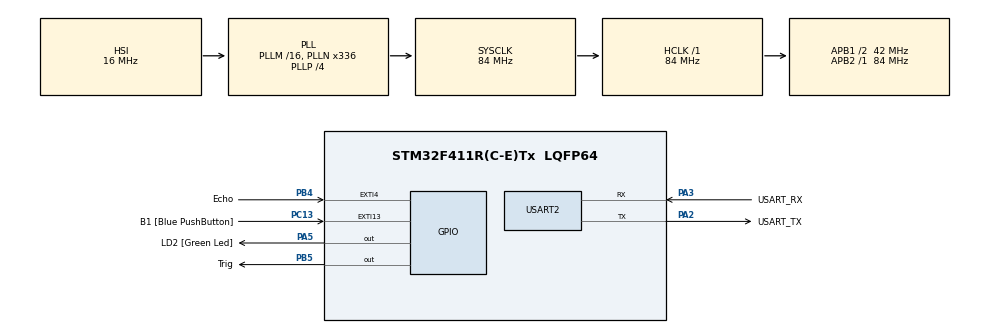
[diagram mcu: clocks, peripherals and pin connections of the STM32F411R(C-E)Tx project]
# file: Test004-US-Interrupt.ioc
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Mcu.Family=STM32F4
Mcu.Name=STM32F411R(C-E)Tx
Mcu.Package=LQFP64
NVIC.EXTI4_IRQn=true\:0\:0\:false\:false\:true\:true\:true\:true
NVIC.PriorityGroup=NVIC_PRIORITYGROUP_0
NVIC.TIM3_IRQn=true\:0\:0\:false\:false\:true\:true\:true\:true
PA13.GPIO_Label=TMS
PA13.Mode=Serial_Wire
PA13.Signal=SYS_JTMS-SWDIO
PA14.GPIO_Label=TCK
PA14.Mode=Serial_Wire
PA14.Signal=SYS_JTCK-SWCLK
PA2.GPIO_Label=USART_TX
PA2.Mode=Asynchronous
PA2.Signal=USART2_TX
PA3.GPIO_Label=USART_RX
PA3.Mode=Asynchronous
PA3.Signal=USART2_RX
PA5.GPIO_Label=LD2 [Green Led]
PA5.Signal=GPIO_Output
PB3.GPIO_Label=SWO
PB3.Signal=SYS_JTDO-SWO
PB4.GPIO_Label=Echo
PB4.GPIO_ModeDefaultEXTI=GPIO_MODE_IT_RISING_FALLING
PB4.Signal=GPXTI4
PB5.GPIO_Label=Trig
PB5.Signal=GPIO_Output
PC13-ANTI_TAMP.GPIO_Label=B1 [Blue PushButton]
PC13-ANTI_TAMP.GPIO_ModeDefaultEXTI=GPIO_MODE_IT_FALLING
PC13-ANTI_TAMP.Signal=GPXTI13
PC14-OSC32_IN.Mode=LSE-External-Oscillator
PC14-OSC32_IN.Signal=RCC_OSC32_IN
PC15-OSC32_OUT.Mode=LSE-External-Oscillator
PC15-OSC32_OUT.Signal=RCC_OSC32_OUT
PH0\ -\ OSC_IN.Mode=HSE-External-Clock-Source
PH0\ -\ OSC_IN.Signal=RCC_OSC_IN
PH1\ -\ OSC_OUT.Mode=HSE-External-Clock-Source
PH1\ -\ OSC_OUT.Signal=RCC_OSC_OUT
ProjectManager.HeapSize=0x200
ProjectManager.StackSize=0x400
ProjectManager.TargetToolchain=STM32CubeIDE
RCC.48MHZClocksFreq_Value=84000000
RCC.AHBFreq_Value=84000000
RCC.APB1CLKDivider=RCC_HCLK_DIV2
RCC.APB1Freq_Value=42000000
RCC.APB1TimFreq_Value=84000000
RCC.APB2Freq_Value=84000000
RCC.APB2TimFreq_Value=84000000
RCC.CortexFreq_Value=84000000
RCC.FLatency-AdvancedSettings=FLASH_LATENCY_2
RCC.HCLKFreq_Value=84000000
RCC.HSE_VALUE=8000000
RCC.HSI_VALUE=16000000
RCC.PLLN=336
RCC.PLLP=RCC_PLLP_DIV4
RCC.SYSCLKFreq_VALUE=84000000
RCC.SYSCLKSource=RCC_SYSCLKSOURCE_PLLCLK
RCC.VCOOutputFreq_Value=336000000
TIM3.Period=10000-1
TIM3.Prescaler=560-1
TIM5.Prescaler=84-1
USART2.VirtualMode=VM_ASYNC
VP_TIM3_VS_ClockSourceINT.Mode=Internal
VP_TIM5_VS_ClockSourceINT.Mode=Internal
board=NUCLEO-F411RE

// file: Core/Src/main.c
/* USER CODE BEGIN Header */
/**
  ******************************************************************************
  * @file           : main.c
  * @brief          : Main program body
  ******************************************************************************
  * @attention
  *
  * Copyright (c) 2024 STMicroelectronics.
  * All rights reserved.
  *
  * This software is licensed under terms that can be found in the LICENSE file
  * in the root directory of this software component.
  * If no LICENSE file comes with this software, it is provided AS-IS.
  *
  ******************************************************************************
  */
/* USER CODE END Header */
#include "main.h"

TIM_HandleTypeDef htim3;
TIM_HandleTypeDef htim5;

UART_HandleTypeDef huart2;

void SystemClock_Config(void);
static void MX_GPIO_Init(void);
static void MX_USART2_UART_Init(void);
static void MX_TIM3_Init(void);
static void MX_TIM5_Init(void);

/* USER CODE BEGIN 0 */
void microDelay(int us)
{
	/*
	while(1)
	{
		int tmp_us = htim5.Instance->CNT - t1; // 경과 ?���??????
		if(tmp_us > us) break;
	}
	*/

	htim5.Instance->CNT = 0;
	while((htim5.Instance->CNT < us));

}

void trigger()
{
	//Trigger Signal
	HAL_GPIO_WritePin(Trig_GPIO_Port, Trig_Pin, 1);
    microDelay(10);	// 10us Trigger signal
    HAL_GPIO_WritePin(Trig_GPIO_Port, Trig_Pin, 0);
    microDelay(10);
}

double getdist()
{
	trigger();
	while(HAL_GPIO_ReadPin(Echo_GPIO_Port, Echo_Pin) != 1);
	int t1 = htim5.Instance->CNT;
	//Wait until Echo Falling_Edge
	while(HAL_GPIO_ReadPin(Echo_GPIO_Port, Echo_Pin) != 0);
	int t2 = htim5.Instance->CNT;
	double dist = (t2 - t1) * (0.000170);
	dist *= 100; // meter --> cm

	return dist;
}

int ts = 0;
double dist = 0.0;

void HAL_GPIO_EXTI_Callback(uint16_t GPIO_Pin)
{
	if (GPIO_Pin == Echo_Pin)
	{
		int tt = htim5.Instance->CNT;  //micro count

		if(HAL_GPIO_ReadPin(Echo_GPIO_Port, Echo_Pin) == 1)  //rising edge
			ts = tt;
		else
			dist = (tt - ts) * (0.000170)*100;  //meter
	}
}
void HAL_TIM_PeriodElapsedCallback(TIM_HandleTypeDef *htim)
{
	if(htim==&htim3)
	{
		trigger();
	}
}

/* USER CODE END 0 */

int main(void)
{

  /* MCU Configuration--------------------------------------------------------*/

  /* Reset of all peripherals, Initializes the Flash interface and the Systick. */
  HAL_Init();

  /* Configure the system clock */
  SystemClock_Config();

  /* Initialize all configured peripherals */
  MX_GPIO_Init();
  MX_USART2_UART_Init();
  MX_TIM3_Init();
  MX_TIM5_Init();
  /* USER CODE BEGIN 2 */

  ProgramStart("Ultra Sonic using Interrupt");
  HAL_TIM_Base_Start(&htim5);
  HAL_TIM_Base_Start_IT(&htim3);
  //HAL_TIM_PWM_Start(&htim3, TIM_CHANNEL_2);
  //htim3.Instance->CCR2=3;
  /* USER CODE END 2 */

  /* Infinite loop */
  while (1)
  {

    /* USER CODE BEGIN 3 */
	  /*
	  while(1)
	  {
		  int e1 = HAL_GPIO_ReadPin(Echo_Port, Echo_Pin);
		  if(e1 == 1) break;
	  }
	  */
	  //Wait until Echo Rising_Edge

	  double d = dist;
	  //printf("\033[10;30HDistance : %.2f cm   \r\n", d);
	  printf("\033[?25l");  //cursor off
	  //printf("\033[?25h");  //cursor on
	  printf("\033[10;25f\033#3Distance : %.2f cm   ", d);
	  printf("\033[11;25f\033#4Distance : %.2f cm   \033[9;10H\n", d);
	  //microDelay(100000); //10ms
	  HAL_Delay(100);

  }

  /* USER CODE END 3 */
}

void SystemClock_Config(void)
{
  RCC_OscInitTypeDef RCC_OscInitStruct = {0};
  RCC_ClkInitTypeDef RCC_ClkInitStruct = {0};

  /** Configure the main internal regulator output voltage
  */
  __HAL_RCC_PWR_CLK_ENABLE();
  __HAL_PWR_VOLTAGESCALING_CONFIG(PWR_REGULATOR_VOLTAGE_SCALE1);

  /** Initializes the RCC Oscillators according to the specified parameters
  * in the RCC_OscInitTypeDef structure.
  */
  RCC_OscInitStruct.OscillatorType = RCC_OSCILLATORTYPE_HSI;
  RCC_OscInitStruct.HSIState = RCC_HSI_ON;
  RCC_OscInitStruct.HSICalibrationValue = RCC_HSICALIBRATION_DEFAULT;
  RCC_OscInitStruct.PLL.PLLState = RCC_PLL_ON;
  RCC_OscInitStruct.PLL.PLLSource = RCC_PLLSOURCE_HSI;
  RCC_OscInitStruct.PLL.PLLM = 16;
  RCC_OscInitStruct.PLL.PLLN = 336;
  RCC_OscInitStruct.PLL.PLLP = RCC_PLLP_DIV4;
  RCC_OscInitStruct.PLL.PLLQ = 4;
  if (HAL_RCC_OscConfig(&RCC_OscInitStruct) != HAL_OK)
  {
    Error_Handler();
  }

  /** Initializes the CPU, AHB and APB buses clocks
  */
  RCC_ClkInitStruct.ClockType = RCC_CLOCKTYPE_HCLK|RCC_CLOCKTYPE_SYSCLK
                              |RCC_CLOCKTYPE_PCLK1|RCC_CLOCKTYPE_PCLK2;
  RCC_ClkInitStruct.SYSCLKSource = RCC_SYSCLKSOURCE_PLLCLK;
  RCC_ClkInitStruct.AHBCLKDivider = RCC_SYSCLK_DIV1;
  RCC_ClkInitStruct.APB1CLKDivider = RCC_HCLK_DIV2;
  RCC_ClkInitStruct.APB2CLKDivider = RCC_HCLK_DIV1;

  if (HAL_RCC_ClockConfig(&RCC_ClkInitStruct, FLASH_LATENCY_2) != HAL_OK)
  {
    Error_Handler();
  }
}

static void MX_TIM3_Init(void)
{

  TIM_ClockConfigTypeDef sClockSourceConfig = {0};
  TIM_MasterConfigTypeDef sMasterConfig = {0};

  htim3.Instance = TIM3;
  htim3.Init.Prescaler = 560-1;
  htim3.Init.CounterMode = TIM_COUNTERMODE_UP;
  htim3.Init.Period = 10000-1;
  htim3.Init.ClockDivision = TIM_CLOCKDIVISION_DIV1;
  htim3.Init.AutoReloadPreload = TIM_AUTORELOAD_PRELOAD_DISABLE;
  if (HAL_TIM_Base_Init(&htim3) != HAL_OK)
  {
    Error_Handler();
  }
  sClockSourceConfig.ClockSource = TIM_CLOCKSOURCE_INTERNAL;
  if (HAL_TIM_ConfigClockSource(&htim3, &sClockSourceConfig) != HAL_OK)
  {
    Error_Handler();
  }
  sMasterConfig.MasterOutputTrigger = TIM_TRGO_RESET;
  sMasterConfig.MasterSlaveMode = TIM_MASTERSLAVEMODE_DISABLE;
  if (HAL_TIMEx_MasterConfigSynchronization(&htim3, &sMasterConfig) != HAL_OK)
  {
    Error_Handler();
  }

}

static void MX_TIM5_Init(void)
{

  TIM_ClockConfigTypeDef sClockSourceConfig = {0};
  TIM_MasterConfigTypeDef sMasterConfig = {0};

  htim5.Instance = TIM5;
  htim5.Init.Prescaler = 84-1;
  htim5.Init.CounterMode = TIM_COUNTERMODE_UP;
  htim5.Init.Period = 4294967295;
  htim5.Init.ClockDivision = TIM_CLOCKDIVISION_DIV1;
  htim5.Init.AutoReloadPreload = TIM_AUTORELOAD_PRELOAD_DISABLE;
  if (HAL_TIM_Base_Init(&htim5) != HAL_OK)
  {
    Error_Handler();
  }
  sClockSourceConfig.ClockSource = TIM_CLOCKSOURCE_INTERNAL;
  if (HAL_TIM_ConfigClockSource(&htim5, &sClockSourceConfig) != HAL_OK)
  {
    Error_Handler();
  }
  sMasterConfig.MasterOutputTrigger = TIM_TRGO_RESET;
  sMasterConfig.MasterSlaveMode = TIM_MASTERSLAVEMODE_DISABLE;
  if (HAL_TIMEx_MasterConfigSynchronization(&htim5, &sMasterConfig) != HAL_OK)
  {
    Error_Handler();
  }

}

static void MX_USART2_UART_Init(void)
{

  huart2.Instance = USART2;
  huart2.Init.BaudRate = 115200;
  huart2.Init.WordLength = UART_WORDLENGTH_8B;
  huart2.Init.StopBits = UART_STOPBITS_1;
  huart2.Init.Parity = UART_PARITY_NONE;
  huart2.Init.Mode = UART_MODE_TX_RX;
  huart2.Init.HwFlowCtl = UART_HWCONTROL_NONE;
  huart2.Init.OverSampling = UART_OVERSAMPLING_16;
  if (HAL_UART_Init(&huart2) != HAL_OK)
  {
    Error_Handler();
  }

}

static void MX_GPIO_Init(void)
{
  GPIO_InitTypeDef GPIO_InitStruct = {0};

  /* GPIO Ports Clock Enable */
  __HAL_RCC_GPIOC_CLK_ENABLE();
  __HAL_RCC_GPIOH_CLK_ENABLE();
  __HAL_RCC_GPIOA_CLK_ENABLE();
  __HAL_RCC_GPIOB_CLK_ENABLE();

  /*Configure GPIO pin Output Level */
  HAL_GPIO_WritePin(LD2_GPIO_Port, LD2_Pin, GPIO_PIN_RESET);

  /*Configure GPIO pin Output Level */
  HAL_GPIO_WritePin(Trig_GPIO_Port, Trig_Pin, GPIO_PIN_RESET);

  /*Configure GPIO pin : B1_Pin */
  GPIO_InitStruct.Pin = B1_Pin;
  GPIO_InitStruct.Mode = GPIO_MODE_IT_FALLING;
  GPIO_InitStruct.Pull = GPIO_NOPULL;
  HAL_GPIO_Init(B1_GPIO_Port, &GPIO_InitStruct);

  /*Configure GPIO pin : LD2_Pin */
  GPIO_InitStruct.Pin = LD2_Pin;
  GPIO_InitStruct.Mode = GPIO_MODE_OUTPUT_PP;
  GPIO_InitStruct.Pull = GPIO_NOPULL;
  GPIO_InitStruct.Speed = GPIO_SPEED_FREQ_LOW;
  HAL_GPIO_Init(LD2_GPIO_Port, &GPIO_InitStruct);

  /*Configure GPIO pin : Echo_Pin */
  GPIO_InitStruct.Pin = Echo_Pin;
  GPIO_InitStruct.Mode = GPIO_MODE_IT_RISING_FALLING;
  GPIO_InitStruct.Pull = GPIO_NOPULL;
  HAL_GPIO_Init(Echo_GPIO_Port, &GPIO_InitStruct);

  /*Configure GPIO pin : Trig_Pin */
  GPIO_InitStruct.Pin = Trig_Pin;
  GPIO_InitStruct.Mode = GPIO_MODE_OUTPUT_PP;
  GPIO_InitStruct.Pull = GPIO_NOPULL;
  GPIO_InitStruct.Speed = GPIO_SPEED_FREQ_LOW;
  HAL_GPIO_Init(Trig_GPIO_Port, &GPIO_InitStruct);

  /* EXTI interrupt init*/
  HAL_NVIC_SetPriority(EXTI4_IRQn, 0, 0);
  HAL_NVIC_EnableIRQ(EXTI4_IRQn);

}

void Error_Handler(void)
{
  __disable_irq();
  while (1)
  {
  }
}
